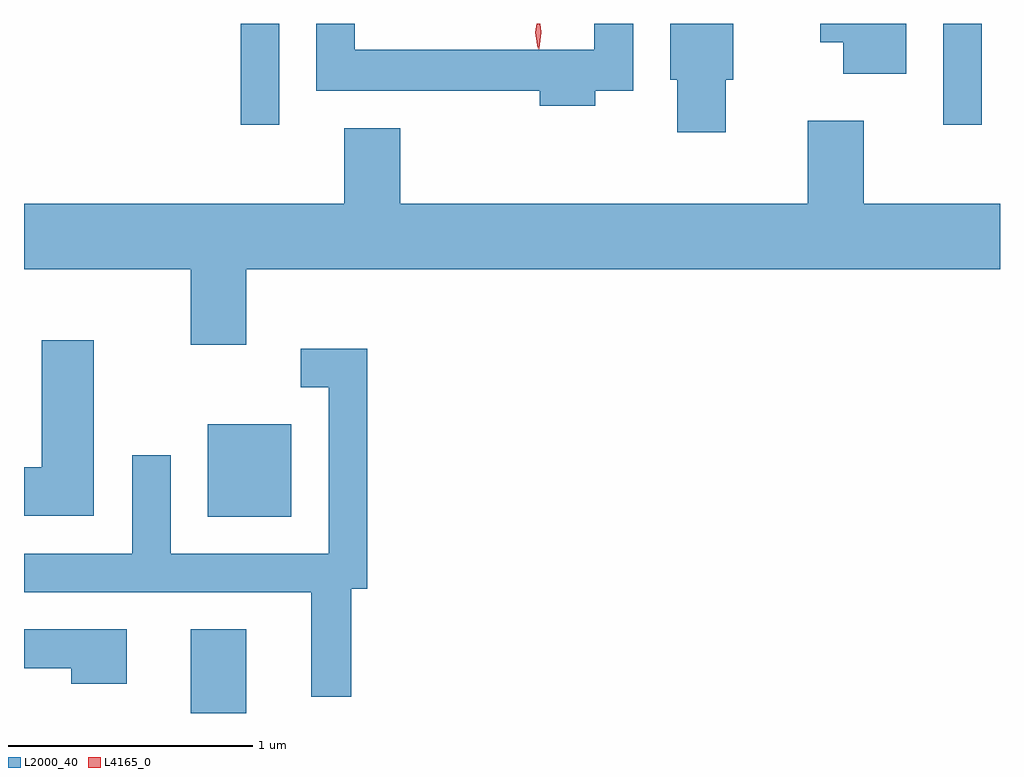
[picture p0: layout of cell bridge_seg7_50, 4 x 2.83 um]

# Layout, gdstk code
import gdstk
lib = gdstk.Library(unit=1e-6, precision=1e-09)
def R(c, l, rs):  # rectangles x0, y0, x1, y1
    for r in rs: c.add(gdstk.rectangle(r[:2], r[2:], *l))
def P(c, l, *ps):  # polygons
    for p in ps: c.add(gdstk.Polygon(p, *l))
L2000_40 = (2000, 40)
L4165_0 = (4165, 0)

bridge_seg7_50 = lib.new_cell('bridge_seg7_50')
R(bridge_seg7_50, L2000_40, [(1535.681,1803.515,1535.909,1803.859), (1535.751,1804.321,1536.094,1804.699), (1535.886,1805.928,1536.044,1806.342), (1538.766,1805.928,1538.924,1806.342)])
P(bridge_seg7_50, L2000_40, [(1537.339,1806.066),(1537.494,1806.066),(1537.494,1806.342),(1537.336,1806.342),(1537.336,1806.234),(1536.354,1806.234),(1536.354,1806.342),(1536.196,1806.342),(1536.196,1806.066),(1537.111,1806.066),(1537.111,1806.006),(1537.339,1806.006)],
  [(1537.874,1806.111),(1537.904,1806.111),(1537.904,1806.342),(1537.646,1806.342),(1537.646,1806.111),(1537.676,1806.111),(1537.676,1805.896),(1537.874,1805.896)],
  [(1538.614,1806.342),(1538.261,1806.342),(1538.261,1806.266),(1538.356,1806.266),(1538.356,1806.136),(1538.614,1806.136)],
  [(1535.909,1805.336),(1538.998,1805.336),(1538.998,1805.604),(1538.439,1805.604),(1538.439,1805.944),(1538.211,1805.944),(1538.211,1805.604),(1536.539,1805.604),(1536.539,1805.914),(1536.311,1805.914),(1536.311,1805.604),(1534.998,1805.604),(1534.998,1805.336),(1535.681,1805.336),(1535.681,1805.026),(1535.909,1805.026)],
  [(1535.284,1805.044),(1535.071,1805.044),(1535.071,1804.524),(1534.998,1804.524),(1534.998,1804.326),(1535.284,1804.326)],
  [(1536.339,1804.026),(1536.404,1804.026),(1536.404,1805.009),(1536.133,1805.009),(1536.133,1804.851),(1536.246,1804.851),(1536.246,1804.169),(1535.599,1804.169),(1535.599,1804.573),(1535.441,1804.573),(1535.441,1804.169),(1534.998,1804.169),(1534.998,1804.011),(1536.176,1804.011),(1536.176,1803.583),(1536.339,1803.583)],
  [(1535.419,1803.859),(1534.998,1803.859),(1534.998,1803.701),(1535.191,1803.701),(1535.191,1803.636),(1535.419,1803.636)])
P(bridge_seg7_50, L4165_0, [(1537.103,1806.24),(1537.094,1806.306),(1537.099,1806.342),(1537.109,1806.342),(1537.114,1806.306),(1537.104,1806.24)],
  [(1537.108,1806.237),(1537.108,1806.238),(1537.098,1806.307),(1537.103,1806.342),(1537.113,1806.342),(1537.118,1806.307),(1537.109,1806.238)])

lib.write_gds('bridge_seg7_50.gds')
